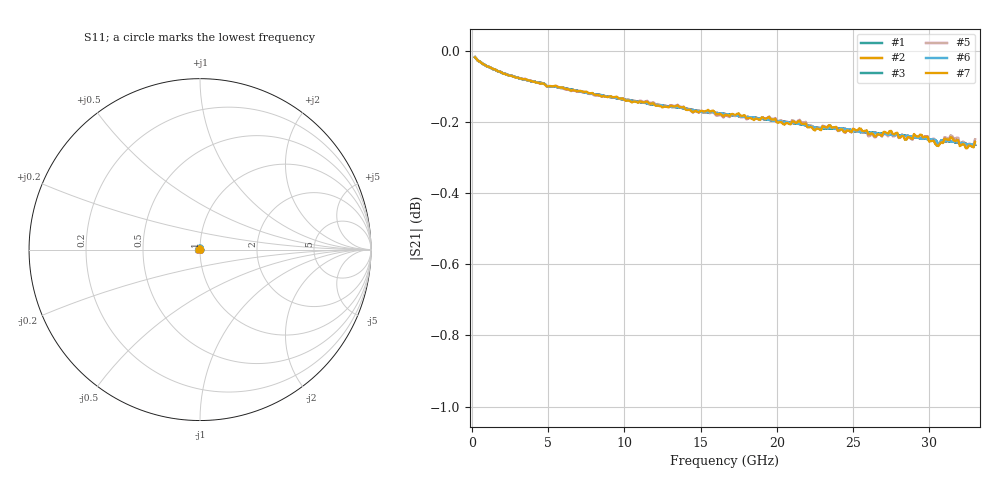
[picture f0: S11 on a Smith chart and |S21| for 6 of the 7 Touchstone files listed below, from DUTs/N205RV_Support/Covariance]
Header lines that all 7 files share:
# GHZ S RI R 50
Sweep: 200 MHz to 33 GHz
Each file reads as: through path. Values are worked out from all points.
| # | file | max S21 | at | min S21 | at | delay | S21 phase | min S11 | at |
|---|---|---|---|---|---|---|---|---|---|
| 1 | N205RV_1.s2p | -0.02 dB | 200 MHz | -0.3 dB | 32.9 GHz | 248 ps | -42 deg at 16.6 GHz | -73.2 dB | 400 MHz |
| 2 | N205RV_2.s2p | -0.02 dB | 200 MHz | -0.3 dB | 32.9 GHz | 248 ps | -42 deg at 16.6 GHz | -73.5 dB | 400 MHz |
| 3 | N205RV_5.s2p | -0.02 dB | 200 MHz | -0.3 dB | 32.9 GHz | 248 ps | -42 deg at 16.6 GHz | -71.3 dB | 400 MHz |
| 4 | N205RV_6.s2p | -0.02 dB | 200 MHz | -0.3 dB | 32.9 GHz | 248 ps | -42 deg at 16.6 GHz | -71.3 dB | 400 MHz |
| 5 | N205RV_8.s2p | -0.02 dB | 200 MHz | -0.3 dB | 32.5 GHz | 248 ps | -42 deg at 16.6 GHz | -71.0 dB | 400 MHz |
| 6 | N205RV_10.s2p | -0.02 dB | 200 MHz | -0.3 dB | 32.9 GHz | 248 ps | -42 deg at 16.6 GHz | -70.6 dB | 400 MHz |
| 7 | N205RV_14.s2p | -0.02 dB | 200 MHz | -0.3 dB | 32.4 GHz | 248 ps | -42 deg at 16.6 GHz | -71.6 dB | 400 MHz |
